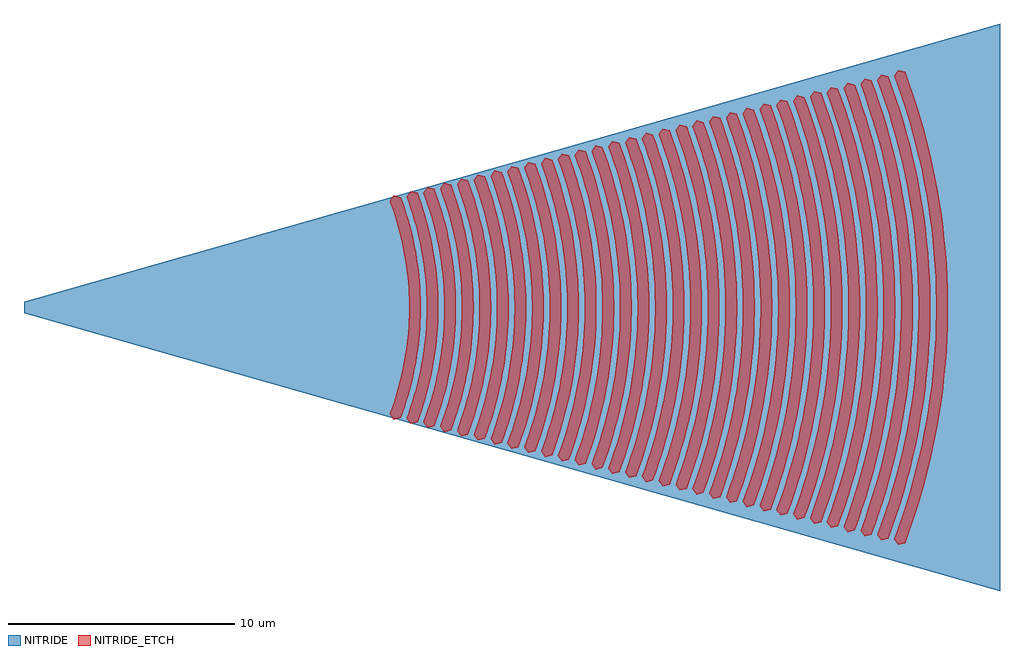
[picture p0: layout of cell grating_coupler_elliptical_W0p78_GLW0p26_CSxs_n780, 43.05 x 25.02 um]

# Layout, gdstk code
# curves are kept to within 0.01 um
import gdstk
lib = gdstk.Library(unit=1e-6, precision=1e-09)
def P(c, l, *ps):  # polygons
    for p in ps: c.add(gdstk.Polygon(p, *l))
NITRIDE = (203, 0)
NITRIDE_ETCH = (204, 0)

grating_coupler_elliptic = lib.new_cell('grating_coupler_elliptical_W0p78_GLW0p26_CSxs_n780')
P(grating_coupler_elliptic, NITRIDE, [(45.955,-12.51),(2.905,-0.25),(2.905,0.25),(45.955,12.51)])
P(grating_coupler_elliptic, NITRIDE_ETCH, [(19.222,-4.943),(19.039,-4.694),(19.352,-3.756),(19.54,-3.042),(19.643,-2.562),(19.73,-2.078),(19.824,-1.347),(19.879,-0.613),(19.892,-0.123),(19.879,0.613),(19.846,1.102),(19.797,1.591),(19.688,2.319),(19.594,2.802),(19.419,3.519),(19.28,3.992),(19.039,4.694),(19.222,4.943),(19.523,4.87),(19.772,4.146),(20.042,3.16),(20.196,2.409),(20.309,1.653),(20.379,0.892),(20.406,0.127),(20.393,-0.637),(20.309,-1.653),(20.196,-2.409),(20.042,-3.16),(19.772,-4.146),(19.523,-4.87)],
  [(19.963,-5.127),(19.78,-4.877),(19.952,-4.393),(20.176,-3.657),(20.408,-2.662),(20.498,-2.159),(20.597,-1.4),(20.653,-0.637),(20.666,-0.128),(20.663,0.382),(20.619,1.146),(20.568,1.653),(20.455,2.41),(20.357,2.912),(20.176,3.657),(19.952,4.393),(19.78,4.877),(19.963,5.127),(20.264,5.055),(20.6,4.049),(20.803,3.279),(20.963,2.5),(21.08,1.715),(21.153,0.925),(21.182,0.132),(21.153,-0.925),(21.08,-1.715),(20.963,-2.5),(20.803,-3.279),(20.6,-4.049),(20.264,-5.055)],
  [(20.706,-5.311),(20.522,-5.063),(20.782,-4.305),(20.932,-3.795),(21.174,-2.762),(21.267,-2.24),(21.369,-1.453),(21.413,-0.926),(21.442,-0.133),(21.437,0.397),(21.393,1.189),(21.305,1.979),(21.222,2.501),(21.12,3.022),(20.932,3.795),(20.782,4.305),(20.522,5.063),(20.706,5.311),(21.006,5.237),(21.274,4.459),(21.564,3.398),(21.73,2.591),(21.851,1.777),(21.927,0.958),(21.956,0.137),(21.927,-0.958),(21.851,-1.777),(21.73,-2.591),(21.564,-3.398),(21.274,-4.459),(21.006,-5.237)],
  [(21.446,-5.495),(21.263,-5.246),(21.613,-4.198),(21.758,-3.667),(21.939,-2.863),(22.035,-2.322),(22.141,-1.506),(22.202,-0.685),(22.216,-0.137),(22.212,0.411),(22.166,1.233),(22.075,2.05),(21.989,2.592),(21.884,3.132),(21.688,3.933),(21.533,4.461),(21.263,5.246),(21.446,5.495),(21.747,5.422),(22.025,4.615),(22.325,3.517),(22.497,2.682),(22.622,1.84),(22.7,0.992),(22.732,0.141),(22.716,-0.709),(22.68,-1.275),(22.622,-1.84),(22.497,-2.682),(22.325,-3.517),(22.025,-4.615),(21.747,-5.422)],
  [(22.188,-5.679),(22.005,-5.43),(22.197,-4.889),(22.445,-4.071),(22.704,-2.963),(22.804,-2.403),(22.913,-1.558),(22.976,-0.709),(22.991,-0.142),(22.987,0.426),(22.939,1.276),(22.882,1.84),(22.756,2.683),(22.647,3.242),(22.445,4.071),(22.197,4.889),(22.005,5.43),(22.188,5.679),(22.489,5.606),(22.776,4.772),(22.941,4.207),(23.086,3.637),(23.264,2.773),(23.394,1.902),(23.474,1.026),(23.506,0.146),(23.49,-0.733),(23.425,-1.61),(23.312,-2.483),(23.151,-3.35),(23.017,-3.922),(22.861,-4.489),(22.685,-5.053),(22.489,-5.606)],
  [(22.929,-5.863),(22.746,-5.614),(22.945,-5.054),(23.201,-4.209),(23.346,-3.638),(23.523,-2.774),(23.615,-2.194),(23.686,-1.611),(23.751,-0.733),(23.766,-0.147),(23.762,0.44),(23.712,1.319),(23.653,1.903),(23.523,2.774),(23.346,3.638),(23.201,4.209),(22.945,5.054),(22.746,5.614),(22.929,5.863),(23.23,5.79),(23.527,4.928),(23.848,3.756),(24.031,2.864),(24.165,1.965),(24.248,1.06),(24.282,0.151),(24.265,-0.757),(24.226,-1.361),(24.165,-1.965),(24.031,-2.864),(23.848,-3.756),(23.527,-4.928),(23.23,-5.79)],
  [(23.671,-6.047),(23.488,-5.798),(23.693,-5.22),(23.958,-4.347),(24.107,-3.758),(24.235,-3.163),(24.341,-2.566),(24.458,-1.664),(24.525,-0.757),(24.542,-0.152),(24.537,0.455),(24.485,1.362),(24.424,1.965),(24.29,2.865),(24.107,3.758),(23.958,4.347),(23.693,5.22),(23.488,5.798),(23.671,6.047),(23.972,5.974),(24.278,5.085),(24.454,4.483),(24.609,3.874),(24.798,2.955),(24.936,2.027),(25.022,1.093),(25.056,0.156),(25.051,-0.469),(25.022,-1.093),(24.936,-2.027),(24.798,-2.955),(24.609,-3.874),(24.454,-4.483),(24.278,-5.085),(23.972,-5.974)],
  [(24.412,-6.231),(24.229,-5.981),(24.441,-5.387),(24.714,-4.485),(24.868,-3.877),(25,-3.265),(25.11,-2.648),(25.23,-1.717),(25.3,-0.781),(25.316,-0.157),(25.3,0.781),(25.259,1.406),(25.155,2.338),(25.057,2.956),(24.937,3.571),(24.714,4.485),(24.441,5.387),(24.229,5.981),(24.412,6.231),(24.713,6.159),(25.029,5.241),(25.21,4.621),(25.37,3.995),(25.565,3.046),(25.707,2.089),(25.796,1.127),(25.832,0.161),(25.814,-0.805),(25.742,-1.769),(25.618,-2.728),(25.441,-3.679),(25.293,-4.309),(25.122,-4.931),(24.929,-5.549),(24.713,-6.159)],
  [(25.154,-6.415),(24.971,-6.166),(25.189,-5.551),(25.471,-4.623),(25.629,-3.996),(25.765,-3.364),(25.878,-2.729),(26.003,-1.77),(26.074,-0.805),(26.092,-0.161),(26.086,0.483),(26.032,1.449),(25.967,2.09),(25.824,3.047),(25.7,3.681),(25.471,4.623),(25.189,5.551),(24.971,6.166),(25.154,6.415),(25.455,6.342),(25.78,5.398),(25.967,4.759),(26.131,4.114),(26.332,3.137),(26.479,2.152),(26.57,1.161),(26.606,0.165),(26.588,-0.829),(26.515,-1.822),(26.386,-2.809),(26.204,-3.789),(26.052,-4.436),(25.876,-5.079),(25.677,-5.715),(25.455,-6.342)],
  [(25.896,-6.598),(25.713,-6.349),(25.937,-5.718),(26.227,-4.761),(26.463,-3.791),(26.591,-3.138),(26.695,-2.481),(26.775,-1.822),(26.849,-0.829),(26.866,-0.166),(26.849,0.829),(26.805,1.492),(26.738,2.152),(26.591,3.138),(26.463,3.791),(26.227,4.761),(25.937,5.718),(25.713,6.349),(25.896,6.598),(26.197,6.525),(26.531,5.554),(26.723,4.897),(26.892,4.233),(27.099,3.228),(27.25,2.214),(27.344,1.194),(27.382,0.17),(27.363,-0.853),(27.287,-1.874),(27.155,-2.891),(26.967,-3.899),(26.811,-4.565),(26.63,-5.226),(26.425,-5.88),(26.197,-6.525)],
  [(26.637,-6.782),(26.454,-6.533),(26.685,-5.883),(26.89,-5.229),(27.152,-4.234),(27.296,-3.566),(27.415,-2.892),(27.547,-1.875),(27.604,-1.194),(27.642,-0.171),(27.636,0.512),(27.578,1.534),(27.509,2.214),(27.358,3.229),(27.227,3.901),(26.983,4.899),(26.685,5.883),(26.454,6.533),(26.637,6.782),(26.938,6.709),(27.282,5.711),(27.479,5.035),(27.654,4.352),(27.866,3.319),(28.021,2.276),(28.118,1.228),(28.156,0.175),(28.137,-0.877),(28.059,-1.927),(27.923,-2.972),(27.731,-4.009),(27.57,-4.695),(27.384,-5.373),(27.173,-6.047),(26.938,-6.709)],
  [(27.379,-6.966),(27.196,-6.717),(27.433,-6.048),(27.74,-5.036),(27.913,-4.354),(28.061,-3.666),(28.184,-2.973),(28.32,-1.928),(28.378,-1.229),(28.416,-0.176),(28.411,0.527),(28.378,1.229),(28.32,1.928),(28.235,2.626),(28.061,3.666),(27.829,4.695),(27.541,5.713),(27.196,6.717),(27.379,6.966),(27.68,6.893),(28.033,5.867),(28.236,5.172),(28.415,4.472),(28.633,3.41),(28.792,2.339),(28.892,1.261),(28.932,0.18),(28.911,-0.901),(28.832,-1.98),(28.692,-3.053),(28.494,-4.119),(28.329,-4.823),(28.137,-5.52),(27.921,-6.212),(27.68,-6.893)],
  [(28.12,-7.15),(27.937,-6.901),(28.181,-6.214),(28.496,-5.174),(28.674,-4.473),(28.826,-3.766),(28.953,-3.055),(29.092,-1.981),(29.152,-1.261),(29.192,-0.181),(29.185,0.541),(29.152,1.261),(29.092,1.981),(28.953,3.055),(28.753,4.12),(28.496,5.174),(28.181,6.214),(27.937,6.901),(28.12,7.15),(28.421,7.077),(28.784,6.024),(28.992,5.31),(29.176,4.591),(29.4,3.501),(29.564,2.401),(29.666,1.295),(29.706,0.185),(29.686,-0.925),(29.604,-2.033),(29.461,-3.135),(29.257,-4.228),(29.088,-4.952),(28.891,-5.667),(28.669,-6.378),(28.421,-7.077)],
  [(28.862,-7.334),(28.679,-7.085),(28.929,-6.38),(29.253,-5.312),(29.435,-4.592),(29.591,-3.867),(29.721,-3.136),(29.864,-2.034),(29.926,-1.296),(29.966,-0.186),(29.96,0.556),(29.926,1.296),(29.864,2.034),(29.775,2.769),(29.591,3.867),(29.347,4.954),(29.043,6.026),(28.679,7.085),(28.862,7.334),(29.163,7.261),(29.535,6.18),(29.749,5.448),(29.937,4.71),(30.167,3.592),(30.335,2.464),(30.44,1.328),(30.482,0.19),(30.46,-0.949),(30.376,-2.086),(30.229,-3.216),(30.021,-4.338),(29.847,-5.08),(29.645,-5.815),(29.417,-6.544),(29.163,-7.261)],
  [(29.603,-7.518),(29.42,-7.269),(29.677,-6.546),(29.905,-5.818),(30.106,-5.082),(30.357,-3.967),(30.49,-3.218),(30.637,-2.086),(30.7,-1.329),(30.742,-0.19),(30.735,0.57),(30.7,1.329),(30.637,2.086),(30.49,3.218),(30.28,4.34),(30.009,5.45),(29.677,6.546),(29.42,7.269),(29.603,7.518),(29.904,7.445),(30.286,6.337),(30.505,5.586),(30.698,4.829),(30.934,3.683),(31.106,2.526),(31.214,1.363),(31.257,0.194),(31.235,-0.973),(31.149,-2.138),(30.998,-3.298),(30.784,-4.448),(30.606,-5.208),(30.399,-5.962),(30.165,-6.71),(29.904,-7.445)],
  [(30.345,-7.702),(30.162,-7.453),(30.425,-6.711),(30.766,-5.588),(31.043,-4.45),(31.258,-3.299),(31.365,-2.526),(31.444,-1.751),(31.495,-0.973),(31.516,-0.195),(31.51,0.584),(31.473,1.362),(31.409,2.139),(31.316,2.913),(31.122,4.067),(30.865,5.211),(30.545,6.339),(30.162,7.453),(30.345,7.702),(30.646,7.629),(30.913,6.875),(31.153,6.11),(31.365,5.337),(31.547,4.558),(31.701,3.774),(31.877,2.588),(31.987,1.396),(32.032,0.199),(32.009,-0.997),(31.921,-2.191),(31.766,-3.379),(31.547,-4.558),(31.365,-5.337),(31.153,-6.11),(30.913,-6.875),(30.646,-7.629)],
  [(31.087,-7.886),(30.904,-7.637),(31.173,-6.877),(31.522,-5.726),(31.806,-4.56),(32.027,-3.381),(32.137,-2.589),(32.218,-1.795),(32.27,-0.997),(32.292,-0.2),(32.285,0.599),(32.218,1.795),(32.137,2.589),(32.027,3.381),(31.806,4.56),(31.522,5.726),(31.173,6.877),(30.904,7.637),(31.087,7.886),(31.388,7.813),(31.788,6.65),(32.018,5.862),(32.221,5.068),(32.468,3.865),(32.649,2.651),(32.761,1.43),(32.806,0.204),(32.784,-1.021),(32.693,-2.244),(32.535,-3.461),(32.31,-4.668),(32.123,-5.466),(31.906,-6.256),(31.661,-7.041),(31.388,-7.813)],
  [(31.828,-8.07),(31.645,-7.821),(31.921,-7.044),(32.278,-5.864),(32.57,-4.67),(32.796,-3.462),(32.908,-2.651),(32.991,-1.838),(33.044,-1.021),(33.066,-0.205),(33.059,0.613),(32.991,1.838),(32.908,2.651),(32.796,3.462),(32.57,4.67),(32.278,5.864),(31.921,7.044),(31.645,7.821),(31.828,8.07),(32.129,7.997),(32.409,7.206),(32.66,6.404),(32.882,5.595),(33.074,4.778),(33.235,3.955),(33.42,2.713),(33.535,1.462),(33.582,0.209),(33.558,-1.045),(33.466,-2.297),(33.304,-3.542),(33.074,-4.778),(32.882,-5.595),(32.66,-6.404),(32.409,-7.206),(32.129,-7.997)],
  [(32.57,-8.254),(32.387,-8.005),(32.669,-7.208),(33.035,-6.002),(33.333,-4.779),(33.564,-3.543),(33.679,-2.713),(33.764,-1.881),(33.819,-1.046),(33.842,-0.21),(33.834,0.628),(33.795,1.463),(33.726,2.298),(33.564,3.543),(33.333,4.779),(33.035,6.002),(32.669,7.208),(32.387,8.005),(32.57,8.254),(32.871,8.181),(33.157,7.372),(33.414,6.551),(33.641,5.723),(33.837,4.887),(34.002,4.046),(34.191,2.775),(34.309,1.497),(34.356,0.214),(34.333,-1.07),(34.238,-2.35),(34.072,-3.623),(33.837,-4.887),(33.641,-5.723),(33.414,-6.551),(33.157,-7.372),(32.871,-8.181)],
  [(33.311,-8.438),(33.128,-8.189),(33.417,-7.374),(33.791,-6.14),(34.096,-4.889),(34.333,-3.625),(34.45,-2.776),(34.537,-1.924),(34.593,-1.07),(34.616,-0.214),(34.609,0.642),(34.569,1.497),(34.498,2.35),(34.333,3.625),(34.096,4.889),(33.791,6.14),(33.417,7.374),(33.128,8.189),(33.311,8.438),(33.612,8.365),(33.905,7.538),(34.168,6.698),(34.4,5.851),(34.6,4.997),(34.769,4.137),(34.962,2.838),(35.083,1.531),(35.132,0.218),(35.107,-1.094),(35.01,-2.402),(34.841,-3.705),(34.6,-4.997),(34.4,-5.851),(34.168,-6.698),(33.905,-7.538),(33.612,-8.365)],
  [(34.053,-8.622),(33.87,-8.373),(34.165,-7.54),(34.548,-6.278),(34.86,-4.999),(35.101,-3.706),(35.222,-2.838),(35.31,-1.968),(35.367,-1.094),(35.392,-0.219),(35.384,0.656),(35.343,1.53),(35.271,2.403),(35.101,3.706),(34.86,4.999),(34.548,6.278),(34.165,7.54),(33.87,8.373),(34.053,8.622),(34.354,8.549),(34.653,7.704),(34.922,6.845),(35.159,5.98),(35.364,5.107),(35.536,4.228),(35.734,2.9),(35.857,1.564),(35.906,0.223),(35.881,-1.118),(35.783,-2.455),(35.609,-3.786),(35.364,-5.107),(35.159,-5.98),(34.922,-6.845),(34.653,-7.704),(34.354,-8.549)],
  [(34.794,-8.806),(34.611,-8.557),(34.913,-7.705),(35.304,-6.416),(35.623,-5.109),(35.87,-3.788),(35.993,-2.901),(36.084,-2.011),(36.142,-1.118),(36.166,-0.224),(36.159,0.671),(36.117,1.564),(36.043,2.456),(35.87,3.788),(35.623,5.109),(35.304,6.416),(34.913,7.705),(34.611,8.557),(34.794,8.806),(35.095,8.733),(35.401,7.869),(35.675,6.993),(35.918,6.109),(36.127,5.217),(36.303,4.319),(36.505,2.963),(36.631,1.598),(36.682,0.228),(36.656,-1.142),(36.555,-2.508),(36.378,-3.868),(36.127,-5.217),(35.918,-6.109),(35.675,-6.993),(35.401,-7.869),(35.095,-8.733)],
  [(35.536,-8.99),(35.353,-8.741),(35.661,-7.871),(36.061,-6.554),(36.386,-5.219),(36.639,-3.869),(36.764,-2.963),(36.857,-2.054),(36.916,-1.142),(36.942,-0.228),(36.933,0.685),(36.891,1.599),(36.815,2.509),(36.639,3.869),(36.386,5.219),(36.061,6.554),(35.661,7.871),(35.353,8.741),(35.536,8.99),(35.837,8.917),(36.149,8.035),(36.429,7.14),(36.677,6.237),(36.89,5.327),(37.07,4.41),(37.276,3.025),(37.405,1.631),(37.456,0.234),(37.43,-1.166),(37.327,-2.561),(37.147,-3.949),(36.89,-5.327),(36.677,-6.237),(36.429,-7.14),(36.149,-8.035),(35.837,-8.917)],
  [(36.277,-9.173),(36.094,-8.923),(36.409,-8.037),(36.817,-6.692),(37.15,-5.329),(37.407,-3.951),(37.535,-3.025),(37.63,-2.096),(37.691,-1.166),(37.716,-0.234),(37.708,0.7),(37.665,1.631),(37.587,2.562),(37.407,3.951),(37.15,5.329),(36.817,6.692),(36.409,8.037),(36.094,8.923),(36.277,9.173),(36.578,9.101),(36.897,8.201),(37.183,7.287),(37.436,6.366),(37.654,5.437),(37.837,4.501),(38.047,3.087),(38.179,1.665),(38.232,0.238),(38.205,-1.19),(38.099,-2.614),(37.915,-4.031),(37.654,-5.437),(37.436,-6.366),(37.183,-7.287),(36.897,-8.201),(36.578,-9.101)],
  [(37.019,-9.357),(36.836,-9.108),(37.157,-8.202),(37.574,-6.83),(37.913,-5.439),(38.176,-4.032),(38.307,-3.088),(38.403,-2.141),(38.465,-1.19),(38.492,-0.238),(38.483,0.714),(38.439,1.665),(38.36,2.615),(38.176,4.032),(37.913,5.439),(37.574,6.83),(37.157,8.202),(36.836,9.108),(37.019,9.357),(37.32,9.284),(37.645,8.366),(37.937,7.434),(38.195,6.494),(38.417,5.547),(38.604,4.592),(38.819,3.15),(38.953,1.699),(39.006,0.242),(38.979,-1.214),(38.872,-2.667),(38.684,-4.112),(38.417,-5.547),(38.195,-6.494),(37.937,-7.434),(37.645,-8.366),(37.32,-9.284)],
  [(37.761,-9.541),(37.578,-9.292),(37.905,-8.369),(38.33,-6.968),(38.676,-5.548),(38.944,-4.114),(39.078,-3.15),(39.176,-2.183),(39.24,-1.214),(39.266,-0.243),(39.258,0.729),(39.213,1.699),(39.132,2.667),(38.944,4.114),(38.676,5.548),(38.33,6.968),(37.905,8.369),(37.578,9.292),(37.761,9.541),(38.062,9.468),(38.232,9.003),(38.691,7.582),(38.953,6.623),(39.18,5.656),(39.371,4.683),(39.59,3.212),(39.727,1.733),(39.782,0.247),(39.754,-1.238),(39.644,-2.719),(39.526,-3.704),(39.452,-4.194),(39.18,-5.656),(38.953,-6.623),(38.691,-7.582),(38.232,-9.003),(38.062,-9.468)],
  [(38.502,-9.725),(38.319,-9.476),(38.653,-8.534),(39.086,-7.106),(39.439,-5.658),(39.713,-4.195),(39.849,-3.212),(39.95,-2.227),(40.014,-1.238),(40.042,-0.248),(40.033,0.743),(39.95,2.227),(39.849,3.212),(39.713,4.195),(39.439,5.658),(39.086,7.106),(38.653,8.534),(38.319,9.476),(38.502,9.725),(38.803,9.652),(38.976,9.177),(39.298,8.215),(39.444,7.729),(39.712,6.752),(39.943,5.766),(40.138,4.774),(40.361,3.274),(40.464,2.269),(40.5,1.765),(40.556,0.252),(40.547,-0.757),(40.464,-2.269),(40.296,-3.775),(40.045,-5.271),(39.832,-6.26),(39.582,-7.242),(39.298,-8.215),(38.976,-9.177),(38.803,-9.652)],
  [(39.244,-9.909),(39.061,-9.66),(39.401,-8.7),(39.843,-7.244),(40.203,-5.768),(40.482,-4.276),(40.62,-3.275),(40.723,-2.27),(40.789,-1.262),(40.816,-0.252),(40.789,1.262),(40.723,2.27),(40.62,3.275),(40.482,4.276),(40.203,5.768),(39.843,7.244),(39.401,8.7),(39.061,9.66),(39.244,9.909),(39.545,9.836),(39.721,9.352),(40.049,8.371),(40.339,7.38),(40.594,6.38),(40.707,5.876),(40.99,4.356),(41.189,2.825),(41.303,1.286),(41.332,0.258),(41.303,-1.286),(41.237,-2.312),(41.066,-3.847),(40.811,-5.371),(40.594,-6.38),(40.339,-7.38),(40.049,-8.371),(39.721,-9.352),(39.545,-9.836)],
  [(39.985,-10.093),(39.802,-9.844),(40.308,-8.374),(40.599,-7.382),(40.966,-5.878),(41.25,-4.358),(41.392,-3.337),(41.496,-2.313),(41.563,-1.286),(41.592,-0.258),(41.563,1.286),(41.496,2.313),(41.392,3.337),(41.25,4.358),(40.966,5.878),(40.599,7.382),(40.308,8.374),(39.802,9.844),(39.985,10.093),(40.286,10.02),(40.466,9.527),(40.8,8.528),(40.952,8.023),(41.23,7.01),(41.47,5.986),(41.672,4.956),(41.904,3.399),(42.048,1.833),(42.106,0.262),(42.077,-1.31),(42.01,-2.355),(41.904,-3.399),(41.836,-3.92),(41.576,-5.472),(41.355,-6.499),(41.095,-7.518),(40.8,-8.528),(40.466,-9.527),(40.286,-10.02)],
  [(40.727,-10.277),(40.544,-10.028),(40.897,-9.031),(41.356,-7.52),(41.729,-5.988),(42.019,-4.439),(42.163,-3.4),(42.269,-2.357),(42.337,-1.31),(42.366,-0.262),(42.357,0.786),(42.308,1.833),(42.221,2.879),(42.019,4.439),(41.729,5.988),(41.356,7.52),(40.897,9.031),(40.544,10.028),(40.727,10.277),(41.028,10.204),(41.211,9.702),(41.551,8.684),(41.706,8.172),(41.989,7.138),(42.233,6.096),(42.439,5.047),(42.675,3.462),(42.822,1.867),(42.882,0.266),(42.871,-0.8),(42.783,-2.399),(42.675,-3.462),(42.606,-3.992),(42.341,-5.573),(41.989,-7.138),(41.706,-8.172),(41.385,-9.195),(41.028,-10.204)],
  [(41.468,-10.461),(41.285,-10.212),(41.645,-9.197),(41.966,-8.174),(42.112,-7.658),(42.493,-6.098),(42.787,-4.521),(42.934,-3.462),(43.042,-2.4),(43.112,-1.334),(43.142,-0.267),(43.132,0.801),(43.082,1.867),(42.994,2.931),(42.866,3.992),(42.787,4.521),(42.493,6.098),(42.112,7.658),(41.966,8.174),(41.645,9.197),(41.285,10.212),(41.468,10.461),(41.769,10.388),(41.956,9.877),(42.302,8.841),(42.46,8.318),(42.748,7.266),(42.997,6.206),(43.206,5.138),(43.376,4.064),(43.446,3.524),(43.596,1.901),(43.646,0.815),(43.656,0.271),(43.626,-1.358),(43.596,-1.901),(43.506,-2.983),(43.376,-4.064),(43.206,-5.138),(43.106,-5.672),(42.997,-6.206),(42.748,-7.266),(42.46,-8.318),(42.133,-9.361),(41.769,-10.388)])

lib.write_gds('grating_coupler_elliptical_W0p78_GLW0p26_CSxs_n780.gds')
